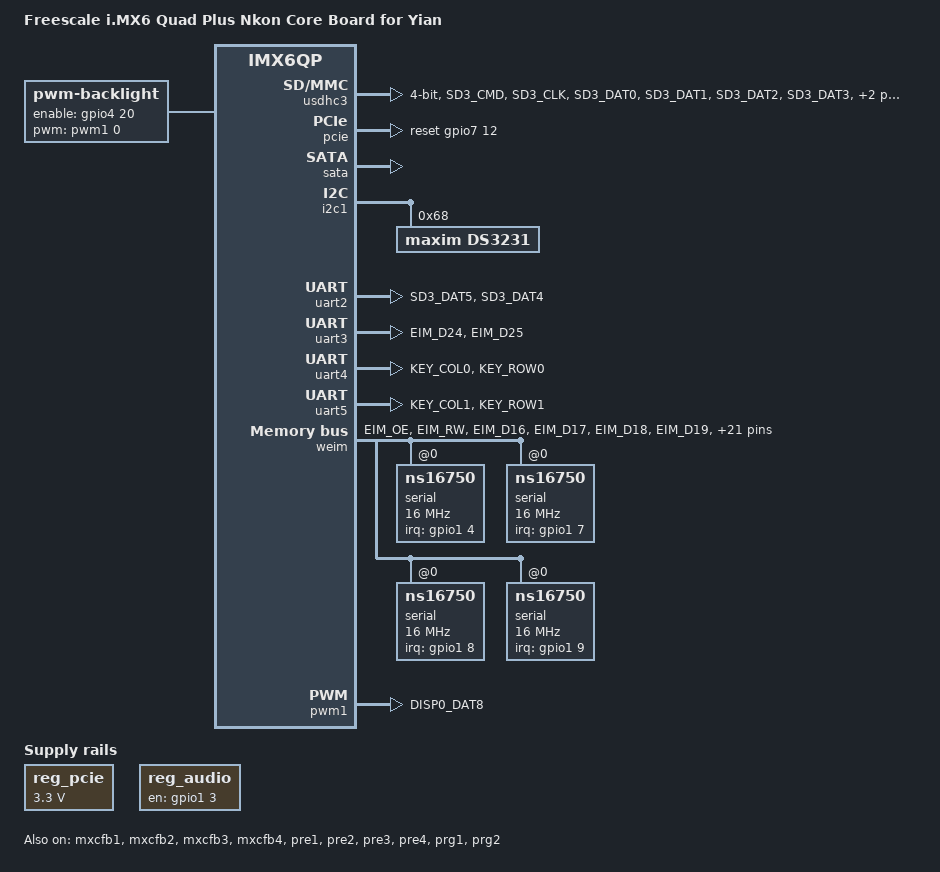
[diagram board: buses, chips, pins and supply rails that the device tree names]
/*
 * Copyright 2016 Freescale Semiconductor, Inc.
 *
 * This file is dual-licensed: you can use it either under the terms
 * of the GPL or the X11 license, at your option. Note that this dual
 * licensing only applies to this file, and not this project as a
 * whole.
 *
 *  a) This file is free software; you can redistribute it and/or
 *     modify it under the terms of the GNU General Public License as
 *     published by the Free Software Foundation; either version 2 of the
 *     License, or (at your option) any later version.
 *
 *     This file is distributed in the hope that it will be useful,
 *     but WITHOUT ANY WARRANTY; without even the implied warranty of
 *     MERCHANTABILITY or FITNESS FOR A PARTICULAR PURPOSE.  See the
 *     GNU General Public License for more details.
 *
 * Or, alternatively,
 *
 *  b) Permission is hereby granted, free of charge, to any person
 *     obtaining a copy of this software and associated documentation
 *     files (the "Software"), to deal in the Software without
 *     restriction, including without limitation the rights to use,
 *     copy, modify, merge, publish, distribute, sublicense, and/or
 *     sell copies of the Software, and to permit persons to whom the
 *     Software is furnished to do so, subject to the following
 *     conditions:
 *
 *     The above copyright notice and this permission notice shall be
 *     included in all copies or substantial portions of the Software.
 *
 *     THE SOFTWARE IS PROVIDED "AS IS", WITHOUT WARRANTY OF ANY KIND,
 *     EXPRESS OR IMPLIED, INCLUDING BUT NOT LIMITED TO THE WARRANTIES
 *     OF MERCHANTABILITY, FITNESS FOR A PARTICULAR PURPOSE AND
 *     NONINFRINGEMENT. IN NO EVENT SHALL THE AUTHORS OR COPYRIGHT
 *     HOLDERS BE LIABLE FOR ANY CLAIM, DAMAGES OR OTHER LIABILITY,
 *     WHETHER IN AN ACTION OF CONTRACT, TORT OR OTHERWISE, ARISING
 *     FROM, OUT OF OR IN CONNECTION WITH THE SOFTWARE OR THE USE OR
 *     OTHER DEALINGS IN THE SOFTWARE.
 */

/dts-v1/;

#include "imx6qp.dtsi"
#include "imx6qdl-sabresd.dtsi"
#include <dt-bindings/pwm/pwm.h>

/ {
	model = "Freescale i.MX6 Quad Plus Nkon Core Board for Yian";
	compatible = "fsl,imx6qp-sabresd", "fsl,imx6qp";

	backlight: backlight {
		compatible = "pwm-backlight";
		pwms = <&pwm1 0 5000000 PWM_POLARITY_INVERTED>;
		brightness-levels = <0 4 8 16 32 64 128 255>;
		default-brightness-level = <7>;
		enable-gpios = <&gpio4 20 GPIO_ACTIVE_HIGH>;
		status = "okay";
	};

	sound {
		compatible = "fsl,imx6q-sabresd-wm8962",
			   "fsl,imx-audio-wm8962";
		hp-det-gpios = <>;
		mic-det-gpios = <>;
	};

	regulators {
		reg_pcie: regulator@3 {
			compatible = "regulator-fixed";
			reg = <3>;
			pinctrl-names = "default";
			pinctrl-0 = <>;
			regulator-name = "MPCIE_3V3";
			regulator-min-microvolt = <3300000>;
			regulator-max-microvolt = <3300000>;
			gpio = <>;
			regulator-always-on;
		};

	};

	lcd@0 {
		status = "disable";
	};
};

&reg_arm {
	vin-supply = <&sw2_reg>;
};

&iomuxc {
	imx6qdl-sabresd {
		pinctrl_hog: hoggrp {
			fsl,pins = <
				MX6QDL_PAD_NANDF_D0__GPIO2_IO00 0x80000000
				MX6QDL_PAD_NANDF_D1__GPIO2_IO01 0x80000000
				MX6QDL_PAD_NANDF_D2__GPIO2_IO02 0x80000000
				MX6QDL_PAD_NANDF_D3__GPIO2_IO03 0x80000000
				MX6QDL_PAD_GPIO_0__CCM_CLKO1    0x130b0
				MX6QDL_PAD_ENET_TXD1__GPIO1_IO29 0x80000000
				MX6QDL_PAD_ENET_CRS_DV__GPIO1_IO25 0x80000000
				MX6QDL_PAD_EIM_D26__GPIO3_IO26 0x80000000
				MX6QDL_PAD_EIM_CS1__GPIO2_IO24 0x80000000
				MX6QDL_PAD_ENET_RXD0__GPIO1_IO27 0x80000000
				MX6QDL_PAD_EIM_EB3__GPIO2_IO31 0x80000000
				MX6QDL_PAD_SD1_CMD__GPIO1_IO18 0x80000000
				MX6QDL_PAD_SD3_RST__GPIO7_IO08	0x80000000
				MX6QDL_PAD_GPIO_9__GPIO1_IO09 	0x80000000
				MX6QDL_PAD_NANDF_CS0__GPIO6_IO11 0x80000000
				MX6QDL_PAD_NANDF_CS1__GPIO6_IO14 0x80000000
				MX6QDL_PAD_NANDF_CS2__GPIO6_IO15 0x80000000
				MX6QDL_PAD_NANDF_CS3__GPIO6_IO16 0x80000000
			>;
		};

		pinctrl_usdhc2: usdhc2grp {
			fsl,pins = <
				MX6QDL_PAD_SD2_CMD__SD2_CMD		0x17059
				MX6QDL_PAD_SD2_CLK__SD2_CLK		0x10071
				MX6QDL_PAD_SD2_DAT0__SD2_DATA0		0x17059
				MX6QDL_PAD_SD2_DAT1__SD2_DATA1		0x17059
				MX6QDL_PAD_SD2_DAT2__SD2_DATA2		0x17059
				MX6QDL_PAD_SD2_DAT3__SD2_DATA3		0x17059
				MX6QDL_PAD_NANDF_D4__SD2_DATA4		0x17059
				MX6QDL_PAD_NANDF_D5__SD2_DATA5		0x17059
				MX6QDL_PAD_NANDF_D6__SD2_DATA6		0x17059
				MX6QDL_PAD_NANDF_D7__SD2_DATA7		0x17059
			>;
		};

		pinctrl_usdhc3: usdhc3grp {
			fsl,pins = <
				MX6QDL_PAD_SD3_CMD__SD3_CMD		0x17059
				MX6QDL_PAD_SD3_CLK__SD3_CLK		0x10071
				MX6QDL_PAD_SD3_DAT0__SD3_DATA0		0x17059
				MX6QDL_PAD_SD3_DAT1__SD3_DATA1		0x17059
				MX6QDL_PAD_SD3_DAT2__SD3_DATA2		0x17059
				MX6QDL_PAD_SD3_DAT3__SD3_DATA3		0x17059
			>;
		};

		pinctrl_uart2: uart2grp {
			fsl,pins = <
				MX6QDL_PAD_SD3_DAT5__UART2_TX_DATA      0x1b0b1
				MX6QDL_PAD_SD3_DAT4__UART2_RX_DATA      0x1b0b1
			>;
		};

		pinctrl_uart3: uart3grp {
			fsl,pins = <
				MX6QDL_PAD_EIM_D24__UART3_TX_DATA       0x1b0b1
				MX6QDL_PAD_EIM_D25__UART3_RX_DATA       0x1b0b1
			>;
		};

		pinctrl_uart4: uart4grp {
			fsl,pins = <
				MX6QDL_PAD_KEY_COL0__UART4_TX_DATA	0x1b0b1
				MX6QDL_PAD_KEY_ROW0__UART4_RX_DATA      0x1b0b1
			>;
		};

		pinctrl_uart5: uart5grp {
			fsl,pins = <
				MX6QDL_PAD_KEY_COL1__UART5_TX_DATA      0x1b0b1
				MX6QDL_PAD_KEY_ROW1__UART5_RX_DATA      0x1b0b1
			>;
		};

		pinctrl_weim_cs0: weimcsgrp {
			fsl,pins = <
				MX6QDL_PAD_EIM_CS0__EIM_CS0_B 0xb0b1
			>;
		};

		pinctrl_weim_uart: weimuartgrp {
			fsl,pins = <
				/* weim misc */
				MX6QDL_PAD_EIM_OE__EIM_OE_B 0xb0b1
				MX6QDL_PAD_EIM_RW__EIM_RW 0xb0b1
				/* weim data */
				MX6QDL_PAD_EIM_D16__EIM_DATA16 0x1b0b0
				MX6QDL_PAD_EIM_D17__EIM_DATA17 0x1b0b0
				MX6QDL_PAD_EIM_D18__EIM_DATA18 0x1b0b0
				MX6QDL_PAD_EIM_D19__EIM_DATA19 0x1b0b0
				MX6QDL_PAD_EIM_D20__EIM_DATA20 0x1b0b0
				MX6QDL_PAD_EIM_D21__EIM_DATA21 0x1b0b0
				MX6QDL_PAD_EIM_D22__EIM_DATA22 0x1b0b0
				MX6QDL_PAD_EIM_D23__EIM_DATA23 0x1b0b0
				/* weim address */
				MX6QDL_PAD_EIM_DA15__EIM_AD15 0xb0b1
				MX6QDL_PAD_EIM_DA14__EIM_AD14 0xb0b1
				MX6QDL_PAD_EIM_DA13__EIM_AD13 0xb0b1
				MX6QDL_PAD_EIM_DA12__EIM_AD12 0xb0b1
				MX6QDL_PAD_EIM_DA11__EIM_AD11 0xb0b1
				MX6QDL_PAD_EIM_DA10__EIM_AD10 0xb0b1
				MX6QDL_PAD_EIM_DA9__EIM_AD09 0xb0b1
				MX6QDL_PAD_EIM_DA8__EIM_AD08 0xb0b1
				MX6QDL_PAD_EIM_DA7__EIM_AD07 0xb0b1
				MX6QDL_PAD_EIM_DA6__EIM_AD06 0xb0b1
				MX6QDL_PAD_EIM_DA5__EIM_AD05 0xb0b1
				MX6QDL_PAD_EIM_DA4__EIM_AD04 0xb0b1
				MX6QDL_PAD_EIM_DA3__EIM_AD03 0xb0b1
				MX6QDL_PAD_EIM_DA2__EIM_AD02 0xb0b1
				MX6QDL_PAD_EIM_DA1__EIM_AD01 0xb0b1
				MX6QDL_PAD_EIM_DA0__EIM_AD00 0xb0b1
			>;
		};

		pinctrl_pwm1: pwm1grp {
			fsl,pins = <
				MX6QDL_PAD_DISP0_DAT8__PWM1_OUT 0x1b0b1
			>;
		};
	};
};


&usdhc3 {
	pinctrl-names = "default";
	pinctrl-0 = <&pinctrl_usdhc3>;
	bus-width = <4>;
	cd-gpios = <&gpio6 17 GPIO_ACTIVE_LOW>;
	wp-gpios = <&gpio6 18 GPIO_ACTIVE_HIGH>;
	no-1-8-v;
	keep-power-in-suspend;
	enable-sdio-wakeup;
	status = "okay";
};


&ldb {
	lvds-channel@0 {
		crtc = "ipu2-di0";
	};

	lvds-channel@1 {
		crtc = "ipu2-di1";
	};
};

&mxcfb1 {
	prefetch;
	status = "okay";
};

&mxcfb2 {
	prefetch;
	status = "okay";
};

&mxcfb3 {
	prefetch;
	status = "okay";
};

&mxcfb4 {
	prefetch;
	status = "okay";
};

&ov564x {
	AVDD-supply = <&vgen6_reg>; /* 2.8v */
	DOVDD-supply = <&sw4_reg>; /* 1.8v */
};

&ov564x_mipi {
	AVDD-supply = <&vgen6_reg>; /* 2.8v */
	DOVDD-supply = <&sw4_reg>; /* 1.8v */
};

&pcie {
	pcie-bus-supply = <&vgen3_reg>; /* 1.8v pwr up pcie ext osc on revb */
	reset-gpio = <&gpio7 12 0>;
	status = "okay";
};

&pre1 {
	status = "okay";
};

&pre2 {
	status = "okay";
};

&pre3 {
	status = "okay";
};

&pre4 {
	status = "okay";
};

&prg1 {
	memory-region = <&memory>;
	status = "okay";
};

&prg2 {
	memory-region = <&memory>;
	status = "okay";
};

&sata {
	status = "okay";
};


&i2c1 {
	status = "okay";
	ds3231: ds3231@68 {
		compatible = "maxim,ds3231";
		reg = <0x68>;
		#clock-cells = <1>;
	};
};

&i2c3 {
	status = "disable";
};


&reg_audio {
	compatible = "regulator-fixed";
	reg = <2>;
	regulator-name = "wm8962-supply";
	gpio = <&gpio1 3 0>;
	enable-active-high;
};


&ecspi1 {
	status = "disable";
};


&uart2 {
	pinctrl-names = "default";
	pinctrl-0 = <&pinctrl_uart2>;
	status = "okay";
};


&uart3 {
	pinctrl-names = "default";
	pinctrl-0 = <&pinctrl_uart3>;
	status = "okay";
};


&uart4 {
	pinctrl-names = "default";
	pinctrl-0 = <&pinctrl_uart4>;
	status = "okay";
};

&uart5 {
	pinctrl-names = "default";
	pinctrl-0 = <&pinctrl_uart5>;
	status = "okay";
};

&weim {
	pinctrl-names = "default";
	pinctrl-0 = <&pinctrl_weim_uart &pinctrl_weim_cs0>;
	#address-cells = <2>;
	#size-cells = <1>;
	ranges = <0 0 0x08000000 0x08000000>;
	status = "okay";
	serial@8000000 {
		compatible = "ns16750";
		reg = <0 0 0x08>;
		clock-frequency = <16000000>;
		interrupt-parent = <&gpio1>;
		interrupts = <4 IRQ_TYPE_LEVEL_HIGH>;
		no-loopback-test;
		fsl,weim-cs-timing = <0x00660081 0x00000001 0x1c022000
			0x0000c000 0x1404a38e 0x00000000>;
		status = "okay";
	};

	serial@8000008 {
		compatible = "ns16750";
		reg = <0 0x08 0x08>;
		clock-frequency = <16000000>;
		interrupt-parent = <&gpio1>;
		interrupts = <7 IRQ_TYPE_LEVEL_HIGH>;
		no-loopback-test;
		fsl,weim-cs-timing = <0x00660081 0x00000001 0x1c022000
			0x0000c000 0x1404a38e 0x00000000>;
		status = "okay";
	};

	serial@8000010 {
		compatible = "ns16750";
		reg = <0 0x10 0x08>;
		clock-frequency = <16000000>;
		interrupt-parent = <&gpio1>;
		interrupts = <8 IRQ_TYPE_LEVEL_HIGH>;
		no-loopback-test;
		fsl,weim-cs-timing = <0x00660081 0x00000001 0x1c022000
			0x0000c000 0x1404a38e 0x00000000>;
		status = "okay";
	};

	serial@8000018 {
		compatible = "ns16750";
		reg = <0 0x18 0x08>;
		clock-frequency = <16000000>;
		interrupt-parent = <&gpio1>;
		interrupts = <9 IRQ_TYPE_LEVEL_HIGH>;
		no-loopback-test;
		fsl,weim-cs-timing = <0x00660081 0x00000001 0x1c022000
			0x0000c000 0x1404a38e 0x00000000>;
		status = "okay";
	};
};

&pwm1 {
	pinctrl-names = "default";
	pinctrl-0 = <&pinctrl_pwm1>;
	status = "okay";
};
